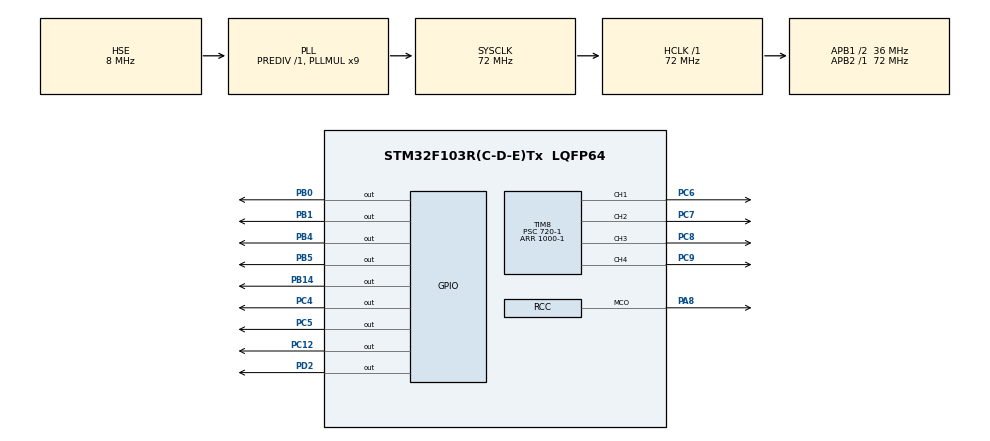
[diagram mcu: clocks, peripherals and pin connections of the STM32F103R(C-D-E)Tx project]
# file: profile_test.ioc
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Mcu.Family=STM32F1
Mcu.Name=STM32F103R(C-D-E)Tx
Mcu.Package=LQFP64
NVIC.PriorityGroup=NVIC_PRIORITYGROUP_4
PA13.Mode=Serial_Wire
PA13.Signal=SYS_JTMS-SWDIO
PA14.Mode=Serial_Wire
PA14.Signal=SYS_JTCK-SWCLK
PA8.Mode=Clock-out
PA8.Signal=RCC_MCO
PB0.Signal=GPIO_Output
PB1.Signal=GPIO_Output
PB14.Signal=GPIO_Output
PB4.Signal=GPIO_Output
PB5.Signal=GPIO_Output
PC12.Signal=GPIO_Output
PC4.Signal=GPIO_Output
PC5.Signal=GPIO_Output
PC6.Signal=S_TIM8_CH1
PC7.Signal=S_TIM8_CH2
PC8.Signal=S_TIM8_CH3
PC9.Signal=S_TIM8_CH4
PD0-OSC_IN.Mode=HSE-External-Oscillator
PD0-OSC_IN.Signal=RCC_OSC_IN
PD1-OSC_OUT.Mode=HSE-External-Oscillator
PD1-OSC_OUT.Signal=RCC_OSC_OUT
PD2.Signal=GPIO_Output
ProjectManager.HeapSize=0x200
ProjectManager.StackSize=0x400
ProjectManager.TargetToolchain=STM32CubeIDE
RCC.AHBFreq_Value=72000000
RCC.APB1CLKDivider=RCC_HCLK_DIV2
RCC.APB1Freq_Value=36000000
RCC.APB1TimFreq_Value=72000000
RCC.APB2Freq_Value=72000000
RCC.APB2TimFreq_Value=72000000
RCC.HCLKFreq_Value=72000000
RCC.PLLMUL=RCC_PLL_MUL9
RCC.PLLSourceVirtual=RCC_PLLSOURCE_HSE
RCC.RCC_MCOSource=RCC_MCO1SOURCE_HSE
RCC.SYSCLKFreq_VALUE=72000000
RCC.SYSCLKSource=RCC_SYSCLKSOURCE_PLLCLK
RCC.USBFreq_Value=72000000
SH.S_TIM8_CH1.0=TIM8_CH1,PWM Generation1 CH1
SH.S_TIM8_CH2.0=TIM8_CH2,PWM Generation2 CH2
SH.S_TIM8_CH3.0=TIM8_CH3,PWM Generation3 CH3
SH.S_TIM8_CH4.0=TIM8_CH4,PWM Generation4 CH4
TIM1.Period=100-1
TIM1.Prescaler=72-1
TIM8.Channel-PWM\ Generation1\ CH1=TIM_CHANNEL_1
TIM8.Channel-PWM\ Generation2\ CH2=TIM_CHANNEL_2
TIM8.Channel-PWM\ Generation3\ CH3=TIM_CHANNEL_3
TIM8.Channel-PWM\ Generation4\ CH4=TIM_CHANNEL_4
TIM8.Period=1000-1
TIM8.Prescaler=720-1
VP_TIM1_VS_ClockSourceINT.Mode=Internal
VP_TIM8_VS_ClockSourceINT.Mode=Internal
board=custom

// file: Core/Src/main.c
/* USER CODE BEGIN Header */
/**
  ******************************************************************************
  * @file           : main.c
  * @brief          : Main program body
  ******************************************************************************
  * @attention
  *
  * Copyright (c) 2023 STMicroelectronics.
  * All rights reserved.
  *
  * This software is licensed under terms that can be found in the LICENSE file
  * in the root directory of this software component.
  * If no LICENSE file comes with this software, it is provided AS-IS.
  *
  ******************************************************************************
  */
/* USER CODE END Header */
#include "main.h"
#include "tim.h"
#include "gpio.h"

/* USER CODE BEGIN Includes */
#include "stm32f1xx_hal.h"
#include "stdlib.h"
#include <math.h>
/* USER CODE END Includes */

void SystemClock_Config(void);

/* USER CODE BEGIN 0 */
void delay(uint16_t ms)
{
	__HAL_TIM_SET_COUNTER(&htim1, 0);
	while(__HAL_TIM_GET_COUNTER(&htim1) < ms);
}
/* USER CODE END 0 */

int main(void)
{

  /* MCU Configuration--------------------------------------------------------*/

  /* Reset of all peripherals, Initializes the Flash interface and the Systick. */
  HAL_Init();

  /* Configure the system clock */
  SystemClock_Config();

  /* Initialize all configured peripherals */
  MX_GPIO_Init();
  MX_TIM8_Init();
  MX_TIM1_Init();
  /* USER CODE BEGIN 2 */

  HAL_TIM_PWM_Start(&htim8, TIM_CHANNEL_1);  // start the pwm md
  HAL_TIM_PWM_Start(&htim8, TIM_CHANNEL_2);  // start the pwm mc
  HAL_TIM_PWM_Start(&htim8, TIM_CHANNEL_3);  // start the pwm mb
  HAL_TIM_PWM_Start(&htim8, TIM_CHANNEL_4);  // start the pwm ma

//  HAL_TIM_Base_Start(&htim1);
  /* USER CODE END 2 */

  /* Infinite loop */
  /* USER CODE BEGIN WHILE */

  float_t fre[700];
  uint16_t period[500];
  float_t len = 700.0;
  float_t fre_max = 700.0;
  float_t fre_min = 0.0;
  float_t flexible = 4;

  float_t deno;
  float_t melo;
  float_t delt = fre_max - fre_min;

  float_t timer_freq = 1000000.0;

  while (1)
  {
	// MD
	HAL_GPIO_WritePin(GPIOB, GPIO_PIN_0, 1);
	HAL_GPIO_WritePin(GPIOB, GPIO_PIN_1, 0);
	// MC
	HAL_GPIO_WritePin(GPIOC, GPIO_PIN_5, 0);
	HAL_GPIO_WritePin(GPIOC, GPIO_PIN_4, 1);
	// MB
	HAL_GPIO_WritePin(GPIOB, GPIO_PIN_4, 1);
	HAL_GPIO_WritePin(GPIOB, GPIO_PIN_5, 0);
	// MA
	HAL_GPIO_WritePin(GPIOD, GPIO_PIN_2, 0);
	HAL_GPIO_WritePin(GPIOC, GPIO_PIN_12, 1);

	for(int i=0; i<len; i++)
	{
		melo = flexible * (i - len/2) / (len/2);
		deno = 1.0 / (1+expf(-melo));
		fre[i] = delt * deno + fre_min;
		period[i] = (uint16_t)(timer_freq/fre[i]);

		__HAL_TIM_SET_COMPARE(&htim8, TIM_CHANNEL_1, (int)fre[i]);
		__HAL_TIM_SET_COMPARE(&htim8, TIM_CHANNEL_2, (int)fre[i]);
		__HAL_TIM_SET_COMPARE(&htim8, TIM_CHANNEL_3, (int)fre[i]);
		__HAL_TIM_SET_COMPARE(&htim8, TIM_CHANNEL_4, (int)fre[i]);
		HAL_Delay(1);
	}

	HAL_Delay(1000-1);

	for(int i=len-1; i>=0; i--)
	{
		__HAL_TIM_SET_COMPARE(&htim8, TIM_CHANNEL_1, (int)fre[i]);
		__HAL_TIM_SET_COMPARE(&htim8, TIM_CHANNEL_2, (int)fre[i]);
		__HAL_TIM_SET_COMPARE(&htim8, TIM_CHANNEL_3, (int)fre[i]);
		__HAL_TIM_SET_COMPARE(&htim8, TIM_CHANNEL_4, (int)fre[i]);
		HAL_Delay(1);
	}

	HAL_Delay(1000-1);

//	  __HAL_TIM_SET_COMPARE(&htim8, TIM_CHANNEL_1, 700);
//	  __HAL_TIM_SET_COMPARE(&htim8, TIM_CHANNEL_2, 700);
//	  __HAL_TIM_SET_COMPARE(&htim8, TIM_CHANNEL_3, 700);
//	  __HAL_TIM_SET_COMPARE(&htim8, TIM_CHANNEL_4, 700);
//
//	  HAL_Delay(1700-1);
//
//	  __HAL_TIM_SET_COMPARE(&htim8, TIM_CHANNEL_1, 0);
//	  __HAL_TIM_SET_COMPARE(&htim8, TIM_CHANNEL_2, 0);
//	  __HAL_TIM_SET_COMPARE(&htim8, TIM_CHANNEL_3, 0);
//	  __HAL_TIM_SET_COMPARE(&htim8, TIM_CHANNEL_4, 0);
//
//	  HAL_Delay(1700-1);
    /* USER CODE END WHILE */

  }
}

void SystemClock_Config(void)
{
  RCC_OscInitTypeDef RCC_OscInitStruct = {0};
  RCC_ClkInitTypeDef RCC_ClkInitStruct = {0};

  /** Initializes the RCC Oscillators according to the specified parameters
  * in the RCC_OscInitTypeDef structure.
  */
  RCC_OscInitStruct.OscillatorType = RCC_OSCILLATORTYPE_HSE;
  RCC_OscInitStruct.HSEState = RCC_HSE_ON;
  RCC_OscInitStruct.HSEPredivValue = RCC_HSE_PREDIV_DIV1;
  RCC_OscInitStruct.HSIState = RCC_HSI_ON;
  RCC_OscInitStruct.PLL.PLLState = RCC_PLL_ON;
  RCC_OscInitStruct.PLL.PLLSource = RCC_PLLSOURCE_HSE;
  RCC_OscInitStruct.PLL.PLLMUL = RCC_PLL_MUL9;
  if (HAL_RCC_OscConfig(&RCC_OscInitStruct) != HAL_OK)
  {
    Error_Handler();
  }

  /** Initializes the CPU, AHB and APB buses clocks
  */
  RCC_ClkInitStruct.ClockType = RCC_CLOCKTYPE_HCLK|RCC_CLOCKTYPE_SYSCLK
                              |RCC_CLOCKTYPE_PCLK1|RCC_CLOCKTYPE_PCLK2;
  RCC_ClkInitStruct.SYSCLKSource = RCC_SYSCLKSOURCE_PLLCLK;
  RCC_ClkInitStruct.AHBCLKDivider = RCC_SYSCLK_DIV1;
  RCC_ClkInitStruct.APB1CLKDivider = RCC_HCLK_DIV2;
  RCC_ClkInitStruct.APB2CLKDivider = RCC_HCLK_DIV1;

  if (HAL_RCC_ClockConfig(&RCC_ClkInitStruct, FLASH_LATENCY_2) != HAL_OK)
  {
    Error_Handler();
  }
  HAL_RCC_MCOConfig(RCC_MCO, RCC_MCO1SOURCE_HSE, RCC_MCODIV_1);
}

/* USER CODE BEGIN 4 */
void softwareDelay(uint32_t milliseconds)
{
	volatile uint32_t delay = milliseconds * 1000;

	while(delay > 0)
	{
		delay--;
	}
}
/* USER CODE END 4 */

void Error_Handler(void)
{
  __disable_irq();
  while (1)
  {
  }
}
